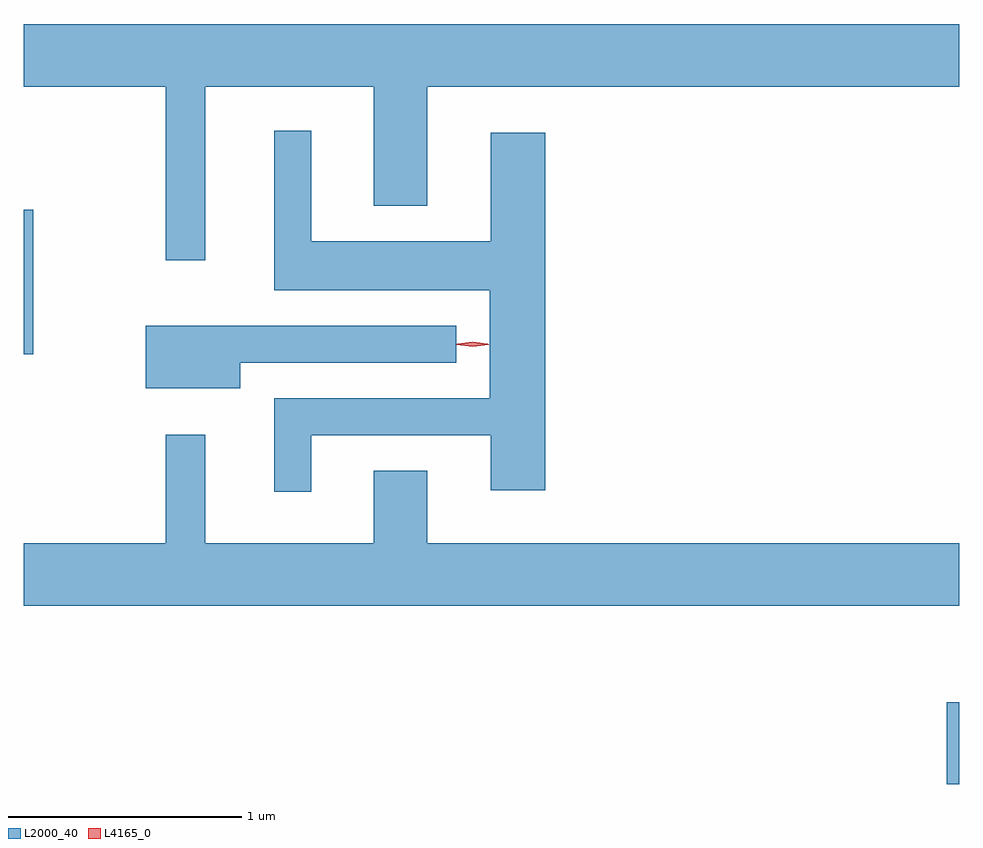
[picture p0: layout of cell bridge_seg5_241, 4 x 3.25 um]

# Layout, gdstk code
import gdstk
lib = gdstk.Library(unit=1e-6, precision=1e-09)
def R(c, l, rs):  # rectangles x0, y0, x1, y1
    for r in rs: c.add(gdstk.rectangle(r[:2], r[2:], *l))
def P(c, l, *ps):  # polygons
    for p in ps: c.add(gdstk.Polygon(p, *l))
L2000_40 = (2000, 40)
L4165_0 = (4165, 0)

bridge_seg5_241 = lib.new_cell('bridge_seg5_241')
R(bridge_seg5_241, L2000_40, [(1000.871,1476.014,1000.924,1476.364), (996.924,1477.851,996.964,1478.469)])
P(bridge_seg5_241, L2000_40, [(997.699,1478.996),(998.421,1478.996),(998.421,1478.486),(998.649,1478.486),(998.649,1478.996),(1000.924,1478.996),(1000.924,1479.264),(996.924,1479.264),(996.924,1478.996),(997.531,1478.996),(997.531,1478.253),(997.699,1478.253)],
  [(998.154,1477.506),(998.921,1477.506),(998.921,1477.271),(999.154,1477.271),(999.154,1478.799),(998.921,1478.799),(998.921,1478.334),(998.154,1478.334),(998.154,1478.808),(997.996,1478.808),(997.996,1478.126),(998.916,1478.126),(998.916,1477.664),(997.996,1477.664),(997.996,1477.263),(998.154,1477.263)],
  [(997.849,1477.816),(998.773,1477.816),(998.773,1477.974),(997.446,1477.974),(997.446,1477.706),(997.849,1477.706)],
  [(1000.924,1477.044),(998.649,1477.044),(998.649,1477.354),(998.421,1477.354),(998.421,1477.044),(997.699,1477.044),(997.699,1477.508),(997.531,1477.508),(997.531,1477.044),(996.924,1477.044),(996.924,1476.776),(1000.924,1476.776)])
P(bridge_seg5_241, L4165_0, [(998.843,1477.883),(998.774,1477.893),(998.773,1477.893),(998.774,1477.894),(998.843,1477.903),(998.912,1477.894),(998.913,1477.893),(998.912,1477.893)],
  [(998.843,1477.885),(998.777,1477.894),(998.777,1477.895),(998.777,1477.896),(998.843,1477.905),(998.909,1477.896),(998.909,1477.895),(998.909,1477.894)])

lib.write_gds('bridge_seg5_241.gds')
